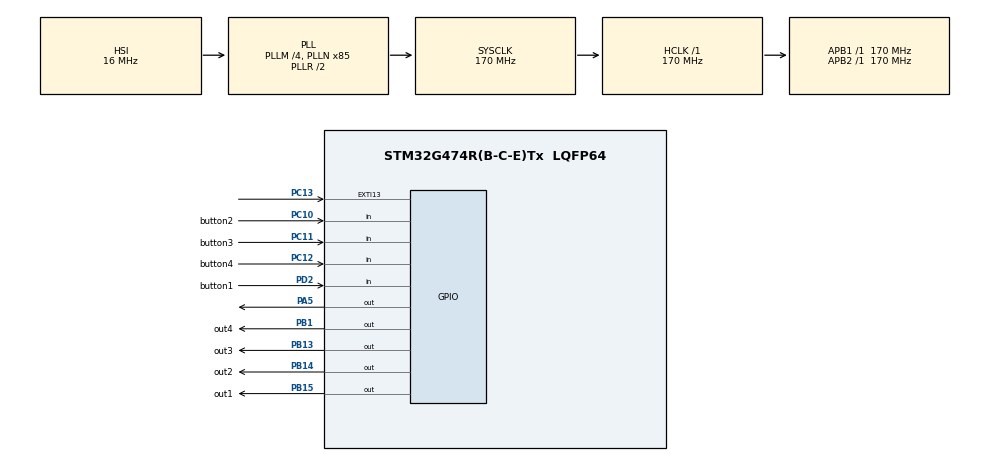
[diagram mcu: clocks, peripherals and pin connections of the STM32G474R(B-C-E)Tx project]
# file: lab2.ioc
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FREERTOS.Tasks01=defaultTask,24,128,StartDefaultTask,Default,NULL,Dynamic,NULL,NULL;inputTask,8,128,Input_Task,Default,NULL,Dynamic,NULL,NULL;outputTask,8,128,output_Task,Default,NULL,Dynamic,NULL,NULL
Mcu.Family=STM32G4
Mcu.Name=STM32G474R(B-C-E)Tx
Mcu.Package=LQFP64
NUCLEO-G474RE.BUTTON=1
NUCLEO-G474RE.LD2=true
NUCLEO-G474RE.VCP=true
NVIC.EXTI15_10_IRQn=true\:5\:0\:false\:false\:true\:true\:true\:true\:true
NVIC.PriorityGroup=NVIC_PRIORITYGROUP_4
PA2.Signal=LPUART1_TX
PA3.Signal=LPUART1_RX
PA5.Signal=GPIO_Output
PB1.GPIO_Label=out4
PB1.Signal=GPIO_Output
PB13.GPIO_Label=out3
PB13.Signal=GPIO_Output
PB14.GPIO_Label=out2
PB14.Signal=GPIO_Output
PB15.GPIO_Label=out1
PB15.Signal=GPIO_Output
PC10.GPIO_Label=button2
PC10.GPIO_PuPd=GPIO_PULLUP
PC10.Signal=GPIO_Input
PC11.GPIO_Label=button3
PC11.GPIO_PuPd=GPIO_PULLUP
PC11.Signal=GPIO_Input
PC12.GPIO_Label=button4
PC12.GPIO_PuPd=GPIO_PULLUP
PC12.Signal=GPIO_Input
PC13.Signal=GPXTI13
PD2.GPIO_Label=button1
PD2.GPIO_PuPd=GPIO_PULLUP
PD2.Signal=GPIO_Input
ProjectManager.HeapSize=0x200
ProjectManager.StackSize=0x400
ProjectManager.TargetToolchain=STM32CubeIDE
RCC.ADC12Freq_Value=170000000
RCC.ADC345Freq_Value=170000000
RCC.AHBFreq_Value=170000000
RCC.APB1Freq_Value=170000000
RCC.APB1TimFreq_Value=170000000
RCC.APB2Freq_Value=170000000
RCC.APB2TimFreq_Value=170000000
RCC.CortexFreq_Value=170000000
RCC.EXTERNAL_CLOCK_VALUE=12288000
RCC.HCLKFreq_Value=170000000
RCC.HSE_VALUE=24000000
RCC.HSI48_VALUE=48000000
RCC.HSI_VALUE=16000000
RCC.LSE_VALUE=32768
RCC.PLLM=RCC_PLLM_DIV4
RCC.PLLN=85
RCC.RTCClockSelection=RCC_RTCCLKSOURCE_LSE
RCC.SYSCLKFreq_VALUE=170000000
RCC.SYSCLKSource=RCC_SYSCLKSOURCE_PLLCLK
RCC.USBFreq_Value=170000000
RCC.VCOOutputFreq_Value=340000000
VP_FREERTOS_VS_CMSIS_V2.Mode=CMSIS_V2
VP_NUCLEO-G474RE_VS_BSP_COMMON.Mode=COMMON
VP_SYS_VS_DBSignals.Mode=DisableDeadBatterySignals
board=NUCLEO-G474RE

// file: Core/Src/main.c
/* USER CODE BEGIN Header */
/**
  ******************************************************************************
  * @file           : main.c
  * @brief          : Main program body
  ******************************************************************************
  * @attention
  *
  * Copyright (c) 2024 STMicroelectronics.
  * All rights reserved.
  *
  * This software is licensed under terms that can be found in the LICENSE file
  * in the root directory of this software component.
  * If no LICENSE file comes with this software, it is provided AS-IS.
  *
  ******************************************************************************
  */
/* USER CODE END Header */
#include "main.h"
#include "cmsis_os.h"

COM_InitTypeDef BspCOMInit;
/* Definitions for defaultTask */
osThreadId_t defaultTaskHandle;
const osThreadAttr_t defaultTask_attributes = {
  .name = "defaultTask",
  .priority = (osPriority_t) osPriorityNormal,
  .stack_size = 128 * 4
};
/* Definitions for inputTask */
osThreadId_t inputTaskHandle;
const osThreadAttr_t inputTask_attributes = {
  .name = "inputTask",
  .priority = (osPriority_t) osPriorityLow,
  .stack_size = 128 * 4
};
/* Definitions for outputTask */
osThreadId_t outputTaskHandle;
const osThreadAttr_t outputTask_attributes = {
  .name = "outputTask",
  .priority = (osPriority_t) osPriorityLow,
  .stack_size = 128 * 4
};

void SystemClock_Config(void);
static void MX_GPIO_Init(void);
void StartDefaultTask(void *argument);
void Input_Task(void *argument);
void output_Task(void *argument);

/* USER CODE BEGIN 0 */
char Button1State=0;
char Button2State=0;
char Button3State=0;
char Button4State=0;
/* USER CODE END 0 */

int main(void)
{

  /* MCU Configuration--------------------------------------------------------*/

  /* Reset of all peripherals, Initializes the Flash interface and the Systick. */
  HAL_Init();

  /* Configure the system clock */
  SystemClock_Config();

  /* Initialize all configured peripherals */
  MX_GPIO_Init();

  /* Init scheduler */
  osKernelInitialize();

  /* Create the thread(s) */
  /* creation of defaultTask */
  defaultTaskHandle = osThreadNew(StartDefaultTask, NULL, &defaultTask_attributes);

  /* creation of inputTask */
  inputTaskHandle = osThreadNew(Input_Task, NULL, &inputTask_attributes);

  /* creation of outputTask */
  outputTaskHandle = osThreadNew(output_Task, NULL, &outputTask_attributes);

  /* Initialize led */
  BSP_LED_Init(LED_GREEN);

  /* Initialize USER push-button, will be used to trigger an interrupt each time it's pressed.*/
  BSP_PB_Init(BUTTON_USER, BUTTON_MODE_EXTI);

  /* Initialize COM1 port (115200, 8 bits (7-bit data + 1 stop bit), no parity */
  BspCOMInit.BaudRate   = 115200;
  BspCOMInit.WordLength = COM_WORDLENGTH_8B;
  BspCOMInit.StopBits   = COM_STOPBITS_1;
  BspCOMInit.Parity     = COM_PARITY_NONE;
  BspCOMInit.HwFlowCtl  = COM_HWCONTROL_NONE;
  if (BSP_COM_Init(COM1, &BspCOMInit) != BSP_ERROR_NONE)
  {
    Error_Handler();
  }

  /* Start scheduler */
  osKernelStart();

  /* We should never get here as control is now taken by the scheduler */

  /* Infinite loop */
  while (1)
  {

  }
}

void SystemClock_Config(void)
{
  RCC_OscInitTypeDef RCC_OscInitStruct = {0};
  RCC_ClkInitTypeDef RCC_ClkInitStruct = {0};

  /** Configure the main internal regulator output voltage
  */
  HAL_PWREx_ControlVoltageScaling(PWR_REGULATOR_VOLTAGE_SCALE1_BOOST);

  /** Initializes the RCC Oscillators according to the specified parameters
  * in the RCC_OscInitTypeDef structure.
  */
  RCC_OscInitStruct.OscillatorType = RCC_OSCILLATORTYPE_HSI;
  RCC_OscInitStruct.HSIState = RCC_HSI_ON;
  RCC_OscInitStruct.HSICalibrationValue = RCC_HSICALIBRATION_DEFAULT;
  RCC_OscInitStruct.PLL.PLLState = RCC_PLL_ON;
  RCC_OscInitStruct.PLL.PLLSource = RCC_PLLSOURCE_HSI;
  RCC_OscInitStruct.PLL.PLLM = RCC_PLLM_DIV4;
  RCC_OscInitStruct.PLL.PLLN = 85;
  RCC_OscInitStruct.PLL.PLLP = RCC_PLLP_DIV2;
  RCC_OscInitStruct.PLL.PLLQ = RCC_PLLQ_DIV2;
  RCC_OscInitStruct.PLL.PLLR = RCC_PLLR_DIV2;
  if (HAL_RCC_OscConfig(&RCC_OscInitStruct) != HAL_OK)
  {
    Error_Handler();
  }

  /** Initializes the CPU, AHB and APB buses clocks
  */
  RCC_ClkInitStruct.ClockType = RCC_CLOCKTYPE_HCLK|RCC_CLOCKTYPE_SYSCLK
                              |RCC_CLOCKTYPE_PCLK1|RCC_CLOCKTYPE_PCLK2;
  RCC_ClkInitStruct.SYSCLKSource = RCC_SYSCLKSOURCE_PLLCLK;
  RCC_ClkInitStruct.AHBCLKDivider = RCC_SYSCLK_DIV1;
  RCC_ClkInitStruct.APB1CLKDivider = RCC_HCLK_DIV1;
  RCC_ClkInitStruct.APB2CLKDivider = RCC_HCLK_DIV1;

  if (HAL_RCC_ClockConfig(&RCC_ClkInitStruct, FLASH_LATENCY_4) != HAL_OK)
  {
    Error_Handler();
  }
}

static void MX_GPIO_Init(void)
{
  GPIO_InitTypeDef GPIO_InitStruct = {0};

  /* GPIO Ports Clock Enable */
  __HAL_RCC_GPIOB_CLK_ENABLE();
  __HAL_RCC_GPIOC_CLK_ENABLE();
  __HAL_RCC_GPIOD_CLK_ENABLE();

  /*Configure GPIO pin Output Level */
  HAL_GPIO_WritePin(GPIOB, out4_Pin|out3_Pin|out2_Pin|out1_Pin, GPIO_PIN_RESET);

  /*Configure GPIO pins : out4_Pin out3_Pin out2_Pin out1_Pin */
  GPIO_InitStruct.Pin = out4_Pin|out3_Pin|out2_Pin|out1_Pin;
  GPIO_InitStruct.Mode = GPIO_MODE_OUTPUT_PP;
  GPIO_InitStruct.Pull = GPIO_NOPULL;
  GPIO_InitStruct.Speed = GPIO_SPEED_FREQ_LOW;
  HAL_GPIO_Init(GPIOB, &GPIO_InitStruct);

  /*Configure GPIO pins : button2_Pin button3_Pin button4_Pin */
  GPIO_InitStruct.Pin = button2_Pin|button3_Pin|button4_Pin;
  GPIO_InitStruct.Mode = GPIO_MODE_INPUT;
  GPIO_InitStruct.Pull = GPIO_PULLUP;
  HAL_GPIO_Init(GPIOC, &GPIO_InitStruct);

  /*Configure GPIO pin : button1_Pin */
  GPIO_InitStruct.Pin = button1_Pin;
  GPIO_InitStruct.Mode = GPIO_MODE_INPUT;
  GPIO_InitStruct.Pull = GPIO_PULLUP;
  HAL_GPIO_Init(button1_GPIO_Port, &GPIO_InitStruct);

}

void StartDefaultTask(void *argument)
{
  for(;;)
  {
	  osDelay(1);
  }
}

void Input_Task(void *argument)
{
  /* USER CODE BEGIN Input_Task */
  /* Infinite loop */
  for(;;)
  {
	  Button1State=  HAL_GPIO_ReadPin(button1_GPIO_Port, button1_Pin);
	  Button2State=  HAL_GPIO_ReadPin(button2_GPIO_Port, button2_Pin);
	  Button3State=  HAL_GPIO_ReadPin(button3_GPIO_Port, button3_Pin);
	  Button4State=  HAL_GPIO_ReadPin(button4_GPIO_Port, button4_Pin);

    osDelay(10);
  }
  /* USER CODE END Input_Task */
}

void output_Task(void *argument)
{
  /* USER CODE BEGIN output_Task */
  /* Infinite loop */
  for(;;)
  {
	  if (Button1State==GPIO_PIN_RESET)
	  {
		  HAL_GPIO_WritePin(out1_GPIO_Port, out1_Pin, 1);
		  HAL_GPIO_WritePin(out2_GPIO_Port, out2_Pin, 0);
		  HAL_GPIO_WritePin(out3_GPIO_Port, out3_Pin, 0);
		  HAL_GPIO_WritePin(out4_GPIO_Port, out4_Pin, 0);
	  }

	  if (Button2State==GPIO_PIN_RESET)
	  	  {
	  		  HAL_GPIO_WritePin(out1_GPIO_Port, out1_Pin, 0);
	  		  HAL_GPIO_WritePin(out2_GPIO_Port, out2_Pin, 1);
	  		  HAL_GPIO_WritePin(out3_GPIO_Port, out3_Pin, 0);
	  		  HAL_GPIO_WritePin(out4_GPIO_Port, out4_Pin, 0);
	  	  }

	  if (Button3State==GPIO_PIN_RESET)
	  	  	  {
	  	  		  HAL_GPIO_WritePin(out1_GPIO_Port, out1_Pin, 0);
	  	  		  HAL_GPIO_WritePin(out2_GPIO_Port, out2_Pin, 0);
	  	  		  HAL_GPIO_WritePin(out3_GPIO_Port, out3_Pin, 1);
	  	  		  HAL_GPIO_WritePin(out4_GPIO_Port, out4_Pin, 0);
	  	  	  }

	  if (Button4State==GPIO_PIN_RESET)
	  	  	  	  {
	  	  	  		  HAL_GPIO_WritePin(out1_GPIO_Port, out1_Pin, 0);
	  	  	  		  HAL_GPIO_WritePin(out2_GPIO_Port, out2_Pin, 0);
	  	  	  		  HAL_GPIO_WritePin(out3_GPIO_Port, out3_Pin, 0);
	  	  	  		  HAL_GPIO_WritePin(out4_GPIO_Port, out4_Pin, 1);

    osDelay(100);
  }
  /* USER CODE END output_Task */
}

void Error_Handler(void)
{
  __disable_irq();
  while (1)
  {
  }
}
